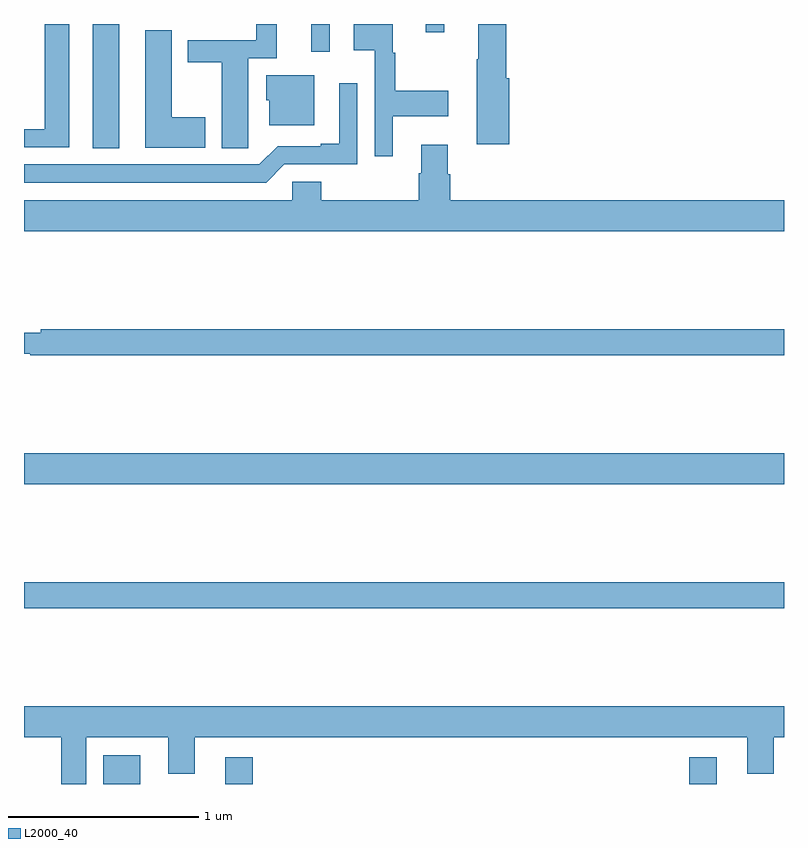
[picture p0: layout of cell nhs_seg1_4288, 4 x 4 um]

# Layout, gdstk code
import gdstk
lib = gdstk.Library(unit=1e-6, precision=1e-09)
def R(c, l, rs):  # rectangles x0, y0, x1, y1
    for r in rs: c.add(gdstk.rectangle(r[:2], r[2:], *l))
def P(c, l, *ps):  # polygons
    for p in ps: c.add(gdstk.Polygon(p, *l))
L2000_40 = (2000, 40)

nhs_seg1_4288 = lib.new_cell('nhs_seg1_4288')
R(nhs_seg1_4288, L2000_40, [(345.417,506.199,345.613,506.35), (346.058,506.199,346.205,506.341), (348.5,506.199,348.646,506.341), (345,507.124,349,507.26), (345,507.776,349,507.94), (345.362,509.545,345.502,510.199), (346.511,510.054,346.608,510.199), (347.114,510.156,347.212,510.199)])
P(nhs_seg1_4288, L2000_40, [(347.555,509.913),(347.537,509.913),(347.537,510.199),(347.39,510.199),(347.39,510.013),(347.384,510.013),(347.384,509.565),(347.555,509.565)],
  [(345.238,510.199),(345.11,510.199),(345.11,509.646),(345,509.646),(345,509.55),(345.238,509.55)],
  [(346.942,509.714),(347.233,509.714),(347.233,509.849),(346.954,509.849),(346.954,510.048),(346.942,510.048),(346.942,510.199),(346.736,510.199),(346.736,510.062),(346.845,510.062),(346.845,509.502),(346.942,509.502)],
  [(346.179,509.656),(346.18,509.656),(346.18,510.018),(346.331,510.018),(346.331,510.199),(346.222,510.199),(346.222,510.114),(345.863,510.114),(345.863,509.998),(346.04,509.998),(346.04,509.545),(346.179,509.545)],
  [(345.955,509.709),(345.778,509.709),(345.778,510.167),(345.639,510.167),(345.639,510.059),(345.638,510.059),(345.638,509.549),(345.955,509.549)],
  [(346.528,509.929),(346.274,509.929),(346.274,509.799),(346.292,509.799),(346.292,509.666),(346.528,509.666)],
  [(346.371,509.46),(346.755,509.46),(346.755,509.887),(346.658,509.887),(346.658,509.569),(346.562,509.569),(346.562,509.556),(346.335,509.556),(346.239,509.46),(345,509.46),(345,509.364),(346.275,509.364)],
  [(347.09,509.563),(347.09,509.414),(347.078,509.414),(347.078,509.272),(346.565,509.272),(346.565,509.37),(346.413,509.37),(346.413,509.272),(345,509.272),(345,509.108),(349,509.108),(349,509.272),(347.243,509.272),(347.243,509.409),(347.23,509.409),(347.23,509.563)],
  [(349,508.592),(345.088,508.592),(345.088,508.573),(345,508.573),(345,508.464),(345.034,508.464),(345.034,508.456),(349,508.456)],
  [(345.328,506.444),(345.758,506.444),(345.758,506.254),(345.898,506.254),(345.898,506.444),(348.806,506.444),(348.806,506.254),(348.946,506.254),(348.946,506.444),(349,506.444),(349,506.608),(345,506.608),(345,506.444),(345.197,506.444),(345.197,506.199),(345.328,506.199)])

lib.write_gds('nhs_seg1_4288.gds')
